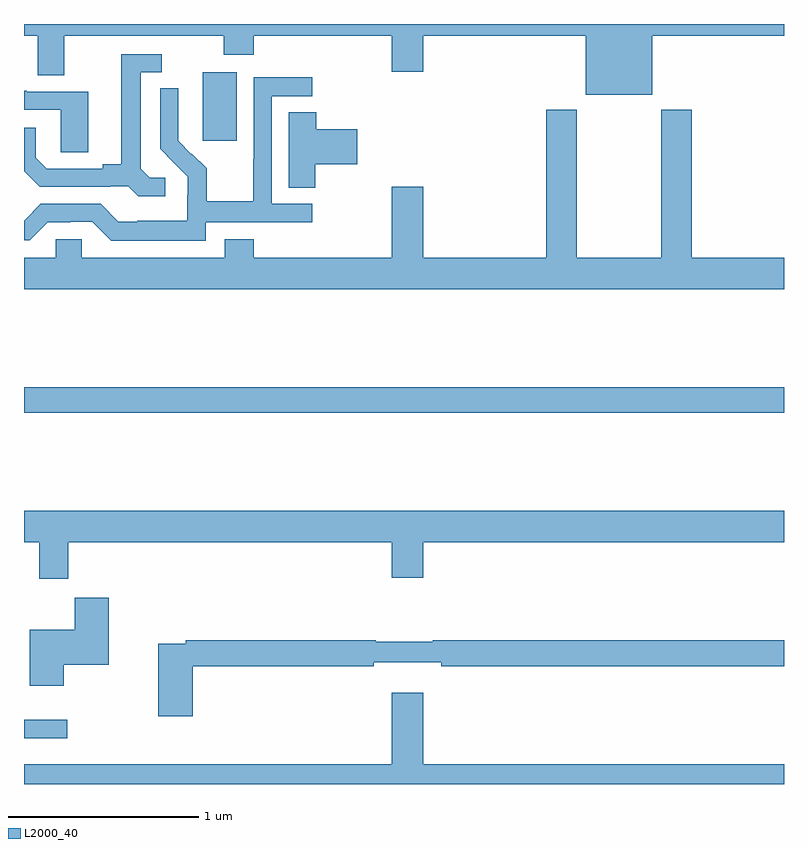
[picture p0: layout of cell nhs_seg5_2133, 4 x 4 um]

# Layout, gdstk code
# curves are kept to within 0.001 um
import gdstk
lib = gdstk.Library(unit=1e-6, precision=1e-09)
def R(c, l, rs):  # rectangles x0, y0, x1, y1
    for r in rs: c.add(gdstk.rectangle(r[:2], r[2:], *l))
def P(c, l, *ps):  # polygons
    for p in ps: c.add(gdstk.Polygon(p, *l))
L2000_40 = (2000, 40)

nhs_seg5_2133 = lib.new_cell('nhs_seg5_2133')
R(nhs_seg5_2133, L2000_40, [(235,877.04,235.228,877.137), (235,878.752,239,878.888), (235.94,880.185,236.119,880.546)])
P(nhs_seg5_2133, L2000_40, [(238.306,880.736),(239,880.736),(239,880.799),(235,880.799),(235,880.736),(235.073,880.736),(235.073,880.528),(235.213,880.528),(235.213,880.736),(236.05,880.736),(236.05,880.637),(236.21,880.637),(236.21,880.736),(236.936,880.736),(236.936,880.548),(237.1,880.548),(237.1,880.736),(237.956,880.736),(237.956,880.427),(238.306,880.427)],
  [(235.744,879.99),(235.662,879.99),(235.615,880.037),(235.615,880.545),(235.726,880.545),(235.726,880.641),(235.511,880.641),(235.511,880.061),(235.415,880.061),(235.415,880.038),(235.12,880.038),(235.063,880.095),(235.063,880.252),(235,880.252),(235,880.024),(235.082,879.942),(235.454,879.942),(235.454,879.945),(235.548,879.945),(235.6,879.893),(235.744,879.893)],
  [(235.956,879.756),(236.518,879.756),(236.518,879.852),(236.304,879.852),(236.304,880.419),(236.518,880.419),(236.518,880.518),(236.208,880.518),(236.208,880.088),(236.206,880.088),(236.206,879.865),(235.961,879.865),(235.961,880.039),(235.884,880.116),(235.881,880.113),(235.811,880.184),(235.812,880.46),(235.716,880.46),(235.716,880.142),(235.862,879.994),(235.862,879.897),(235.86,879.897),(235.86,879.763),(235.597,879.763),(235.597,879.759),(235.497,879.759),(235.404,879.852),(235.089,879.852),(235,879.763),(235,879.66),(235.029,879.66),(235.125,879.756),(235.244,879.756),(235.244,879.759),(235.359,879.759),(235.459,879.659),(235.956,879.659)],
  [(235.339,880.443),(235.015,880.443),(235.015,880.447),(235,880.447),(235,880.347),(235.194,880.347),(235.194,880.123),(235.339,880.123)],
  [(239,879.568),(238.514,879.568),(238.514,880.348),(238.354,880.348),(238.354,879.568),(237.909,879.568),(237.909,880.348),(237.749,880.348),(237.749,879.568),(237.1,879.568),(237.1,879.943),(236.936,879.943),(236.936,879.568),(236.21,879.568),(236.21,879.667),(236.057,879.667),(236.057,879.568),(235.305,879.568),(235.305,879.666),(235.167,879.666),(235.167,879.568),(235,879.568),(235,879.404),(239,879.404)],
  [(236.532,880.061),(236.755,880.061),(236.755,880.244),(236.537,880.244),(236.537,880.334),(236.393,880.334),(236.393,879.937),(236.532,879.937)],
  [(235.232,878.072),(236.936,878.072),(236.936,877.884),(237.1,877.884),(237.1,878.072),(239,878.072),(239,878.236),(235,878.236),(235,878.072),(235.079,878.072),(235.079,877.878),(235.232,877.878)],
  [(235.21,877.427),(235.445,877.427),(235.445,877.78),(235.267,877.78),(235.267,877.612),(235.031,877.612),(235.031,877.316),(235.21,877.316)],
  [(235.889,877.42),(236.84,877.42),(236.84,877.439),(237.196,877.439),(237.196,877.42),(239,877.42),(239,877.556),(237.152,877.556),(237.152,877.549),(236.852,877.549),(236.852,877.556),(235.852,877.556),(235.852,877.536),(235.706,877.536),(235.706,877.155),(235.889,877.155)],
  [(239,876.904),(237.1,876.904),(237.1,877.279),(236.936,877.279),(236.936,876.904),(235,876.904),(235,876.799),(239,876.799)])

lib.write_gds('nhs_seg5_2133.gds')
